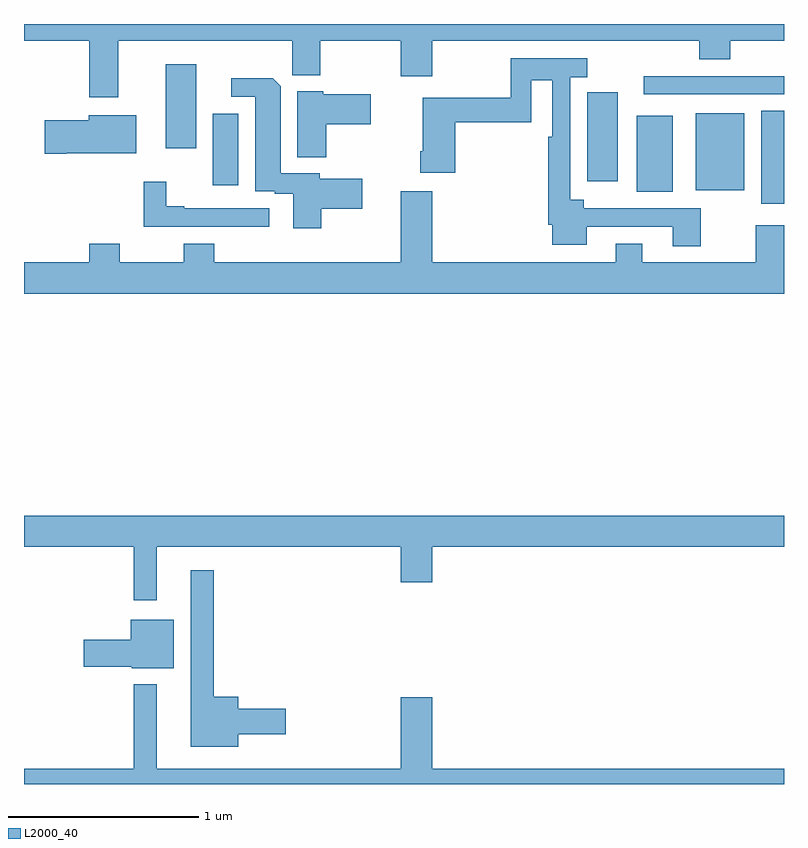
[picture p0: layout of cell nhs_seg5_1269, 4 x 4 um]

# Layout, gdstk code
import gdstk
lib = gdstk.Library(unit=1e-6, precision=1e-09)
def R(c, l, rs):  # rectangles x0, y0, x1, y1
    for r in rs: c.add(gdstk.rectangle(r[:2], r[2:], *l))
def P(c, l, *ps):  # polygons
    for p in ps: c.add(gdstk.Polygon(p, *l))
L2000_40 = (2000, 40)

nhs_seg5_1269 = lib.new_cell('nhs_seg5_1269')
R(nhs_seg5_1269, L2000_40, [(190.88,903.852,191,904.343), (190.226,903.917,190.414,904.315), (190.535,903.923,190.792,904.33), (187.994,903.951,188.128,904.327), (189.965,903.972,190.126,904.439), (187.745,904.146,187.906,904.588), (190.263,904.428,191,904.524)])
P(nhs_seg5_1269, L2000_40, [(187.495,904.712),(188.413,904.712),(188.413,904.53),(188.559,904.53),(188.559,904.712),(188.984,904.712),(188.984,904.524),(189.148,904.524),(189.148,904.712),(190.553,904.712),(190.553,904.613),(190.718,904.613),(190.718,904.712),(191,904.712),(191,904.799),(187,904.799),(187,904.712),(187.343,904.712),(187.343,904.413),(187.495,904.413)],
  [(190.563,903.828),(189.946,903.828),(189.946,903.874),(189.876,903.874),(189.876,904.52),(189.965,904.52),(189.965,904.62),(189.561,904.62),(189.561,904.411),(189.098,904.411),(189.098,904.129),(189.086,904.129),(189.086,904.017),(189.269,904.017),(189.269,904.282),(189.669,904.282),(189.669,904.504),(189.78,904.504),(189.78,904.205),(189.76,904.205),(189.76,903.742),(189.779,903.742),(189.779,903.638),(189.961,903.638),(189.961,903.732),(190.415,903.732),(190.415,903.63),(190.563,903.63)],
  [(188.565,903.827),(188.779,903.827),(188.779,903.985),(188.557,903.985),(188.557,904.014),(188.35,904.014),(188.35,904.472),(188.308,904.514),(188.091,904.514),(188.091,904.416),(188.216,904.416),(188.216,903.918),(188.321,903.918),(188.321,903.906),(188.417,903.906),(188.417,903.723),(188.565,903.723)],
  [(188.591,904.271),(188.824,904.271),(188.824,904.429),(188.574,904.429),(188.574,904.444),(188.438,904.444),(188.438,904.099),(188.591,904.099)],
  [(187.222,904.12),(187.591,904.12),(187.591,904.318),(187.34,904.318),(187.34,904.293),(187.11,904.293),(187.11,904.115),(187.222,904.115)],
  [(188.29,903.828),(187.843,903.828),(187.843,903.841),(187.749,903.841),(187.749,903.97),(187.63,903.97),(187.63,903.732),(188.29,903.732)],
  [(191,903.739),(190.852,903.739),(190.852,903.544),(190.255,903.544),(190.255,903.643),(190.115,903.643),(190.115,903.544),(189.148,903.544),(189.148,903.919),(188.984,903.919),(188.984,903.544),(188,903.544),(188,903.643),(187.84,903.643),(187.84,903.544),(187.503,903.544),(187.503,903.643),(187.343,903.643),(187.343,903.544),(187,903.544),(187,903.38),(191,903.38)],
  [(187.699,902.048),(188.984,902.048),(188.984,901.86),(189.148,901.86),(189.148,902.048),(191,902.048),(191,902.212),(187,902.212),(187,902.048),(187.578,902.048),(187.578,901.767),(187.699,901.767)],
  [(188.128,901.061),(188.377,901.061),(188.377,901.196),(188.128,901.196),(188.128,901.258),(187.999,901.258),(187.999,901.924),(187.877,901.924),(187.877,900.995),(188.128,900.995)],
  [(187.789,901.663),(187.562,901.663),(187.562,901.557),(187.314,901.557),(187.314,901.415),(187.566,901.415),(187.566,901.409),(187.789,901.409)],
  [(187,900.799),(191,900.799),(191,900.88),(189.148,900.88),(189.148,901.255),(188.984,901.255),(188.984,900.88),(187.699,900.88),(187.699,901.324),(187.578,901.324),(187.578,900.88),(187,900.88)])

lib.write_gds('nhs_seg5_1269.gds')
